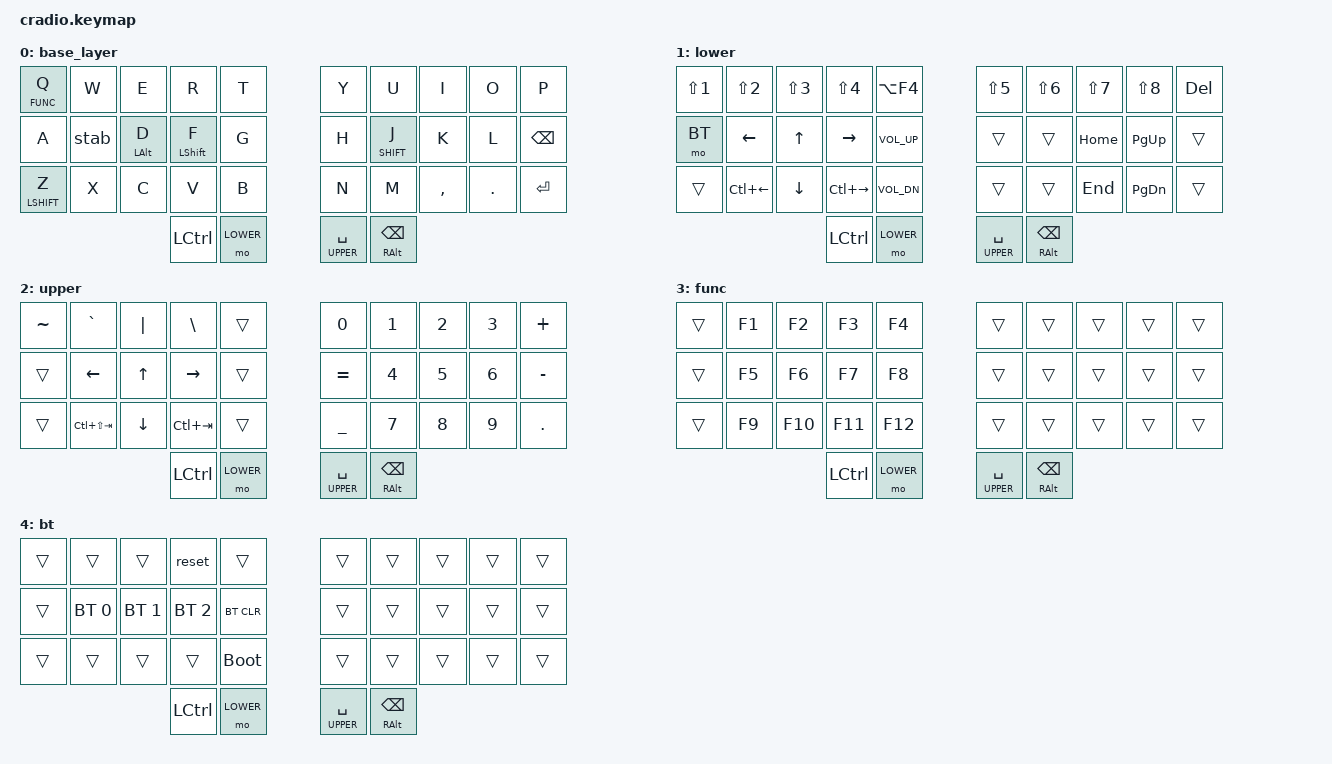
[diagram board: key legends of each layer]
#include <behaviors.dtsi>
#include <dt-bindings/zmk/keys.h>
#include <dt-bindings/zmk/bt.h>


#define BASE 0
#define LOWER 1
#define UPPER 2
#define FUNC 3
#define BT 4

#define ALL BASE LOWER UPPER FUNC BT

&kscan0 {
    debounce-period = <20>;
};


&lt {
    tapping-term-ms = <180>;
};

/ {
     combos {
          #include "combos.dtsi"
     };

	behaviors {
        hm: homerow_mods {
            compatible = "zmk,behavior-hold-tap";
            label = "HOMEROW_MODS";
            #binding-cells = <2>;
            tapping-term-ms = <200>;
            quick_tap_ms = <0>;
            flavor = "tap-preferred";
            bindings = <&kp>, <&kp>;
          };
          qhm: q_homerow_mods {
            compatible = "zmk,behavior-hold-tap";
            label = "Q_HOMEROW_MODS";
            #binding-cells = <2>;
            tapping-term-ms = <200>;
            quick_tap_ms = <0>;
            flavor = "tap-preferred";
            bindings = <&mo>, <&kp>;
          };
          zhm: z_homerow_mods {
            compatible = "zmk,behavior-hold-tap";
            label = "Z_HOMEROW_MODS";
            #binding-cells = <2>;
            tapping-term-ms = <150>;
            quick_tap_ms = <0>;
            flavor = "balanced";
            bindings = <&mo>, <&kp>;
          };
		ftab: f_tab {
            compatible = "zmk,behavior-mod-morph";
            label = "F_TAB";
            #binding-cells = <0>;
            bindings = <&kp F>, <&kp TAB>;
            mods = <MOD_LALT>;
        };
		stab: s_shift_tab {
            compatible = "zmk,behavior-mod-morph";
            label = "S_TAB";
            #binding-cells = <0>;
            bindings = <&kp S>, <&kp LS(TAB)>;
            mods = <MOD_LALT>;
        };
		am_f: alpha_mod_f_tab {
            compatible = "zmk,behavior-hold-tap";
            label = "F_MT";
            #binding-cells = <2>;
            tapping-term-ms = <200>;
            quick_tap_ms = <0>;
            flavor = "tap-preferred";
            bindings = <&kp>, <&ftab>;
        };
	};
	

  keymap {
    compatible = "zmk,keymap";

    base_layer {
      bindings = <
        // ╭─────────────┬─────────────┬─────────────┬─────────────┬─────────────╮   ╭─────────────┬─────────────┬─────────────┬─────────────┬─────────────╮
             &qhm FUNC Q   &kp W         &kp E         &kp R         &kp T             &kp Y         &kp U         &kp I         &kp O         &kp P
        // ├─────────────┼─────────────┼─────────────┼─────────────┼─────────────┤   ├─────────────┼─────────────┼─────────────┼─────────────┼─────────────┤
             &kp A         &stab		&hm LALT D     &am_f LSHFT F  &kp G            &kp H         &hm SHIFT J  &kp K         &kp L         &kp BSPC
        // ├─────────────┼─────────────┼─────────────┼─────────────┼─────────────┤   ├─────────────┼─────────────┼─────────────┼─────────────┼─────────────┤
             &zhm LSHIFT Z  &kp X         &kp C         &kp V         &kp B             &kp N         &kp M         &kp COMMA     &kp DOT       &kp RET
        // ╰─────────────┴─────────────┴─────────────┼─────────────┼─────────────┤   ├─────────────┼─────────────┼─────────────┴─────────────┴─────────────╯
                                                       &kp LCTRL     &mo LOWER        &lt UPPER SPACE  &mt RALT BSPC
        //                                           ╰─────────────┴─────────────╯   ╰─────────────┴─────────────╯
      >;
    };


    lower {
      bindings = <
        // ╭─────────────┬─────────────┬─────────────┬─────────────┬─────────────╮   ╭─────────────┬─────────────┬─────────────┬─────────────┬─────────────╮
             &kp LS(N1) 	  &kp LS(N2) 	 &kp LS(N3) 	&kp LS(N4)    &kp LA(F4)         &kp LS(N5) 	 &kp LS(N6) 	&kp LS(N7)    &kp LS(N8)     &kp DEL
        // ├─────────────┼─────────────┼─────────────┼─────────────┼─────────────┤   ├─────────────┼─────────────┼─────────────┼─────────────┼─────────────┤
             &mo BT        &kp LEFT      &kp UP        &kp RIGHT     &kp C_VOL_UP       &trans 	 &trans 		&kp HOME      &kp PG_UP      &trans
        // ├─────────────┼─────────────┼─────────────┼─────────────┼─────────────┤   ├─────────────┼─────────────┼─────────────┼─────────────┼─────────────┤
             &trans        &kp LC(LEFT)  &kp DOWN      &kp LC(RIGHT)  &kp C_VOL_DN      &trans 	 &trans 		&kp END       &kp PG_DN      &trans
        // ╰─────────────┴─────────────┴─────────────┼─────────────┼─────────────┤   ├─────────────┼─────────────┼─────────────┴─────────────┴─────────────╯
                                                       &kp LCTRL     &mo LOWER        &lt UPPER SPACE  &mt RALT BSPC
        //                                           ╰─────────────┴─────────────╯   ╰─────────────┴─────────────╯
      >;
    };

    upper {
      bindings = <
        // ╭─────────────┬─────────────┬─────────────┬─────────────┬─────────────╮   ╭─────────────┬─────────────┬─────────────┬─────────────┬─────────────╮
             &kp TILDE     &kp GRAVE     &kp PIPE      &kp BSLH      &trans             &kp N0        &kp N1        &kp N2        &kp N3        &kp PLUS
        // ├─────────────┼─────────────┼─────────────┼─────────────┼─────────────┤   ├─────────────┼─────────────┼─────────────┼─────────────┼─────────────┤
             &trans        &kp LEFT      &kp UP        &kp RIGHT     &trans             &kp EQUAL     &kp N4        &kp N5        &kp N6        &kp MINUS
        // ├─────────────┼─────────────┼─────────────┼─────────────┼─────────────┤   ├─────────────┼─────────────┼─────────────┼─────────────┼─────────────┤
             &trans        &kp LC(LS(TAB))  &kp DOWN   &kp LC(TAB)   &trans             &kp UNDER     &kp N7        &kp N8        &kp N9        &kp DOT
        // ╰─────────────┴─────────────┴─────────────┼─────────────┼─────────────┤   ├─────────────┼─────────────┼─────────────┴─────────────┴─────────────╯
                                                       &kp LCTRL     &mo LOWER        &lt UPPER SPACE  &mt RALT BSPC
        //                                           ╰─────────────┴─────────────╯   ╰─────────────┴─────────────╯
      >;
    };  

    func {
      bindings = <
        // ╭─────────────┬─────────────┬─────────────┬─────────────┬─────────────╮   ╭─────────────┬─────────────┬─────────────┬─────────────┬─────────────╮
             &trans        &kp F1 		 &kp F2 		&kp F3        &kp F4             &trans        &trans        &trans        &trans        &trans
        // ├─────────────┼─────────────┼─────────────┼─────────────┼─────────────┤   ├─────────────┼─────────────┼─────────────┼─────────────┼─────────────┤
             &trans        &kp F5 	      &kp F6 		&kp F7        &kp F8             &trans        &trans        &trans        &trans        &trans
        // ├─────────────┼─────────────┼─────────────┼─────────────┼─────────────┤   ├─────────────┼─────────────┼─────────────┼─────────────┼─────────────┤
             &trans        &kp F9 	      &kp F10 		&kp F11       &kp F12            &trans        &trans        &trans        &trans        &trans
        // ╰─────────────┴─────────────┴─────────────┼─────────────┼─────────────┤   ├─────────────┼─────────────┼─────────────┴─────────────┴─────────────╯
                                                       &kp LCTRL     &mo LOWER        &lt UPPER SPACE  &mt RALT BSPC
        //                                           ╰─────────────┴─────────────╯   ╰─────────────┴─────────────╯
      >;
    };

    bt {
      bindings = <
        // ╭─────────────┬─────────────┬─────────────┬─────────────┬─────────────╮   ╭─────────────┬─────────────┬─────────────┬─────────────┬─────────────╮
             &trans        &trans        &trans 		&reset        &trans             &trans        &trans        &trans        &trans        &trans
        // ├─────────────┼─────────────┼─────────────┼─────────────┼─────────────┤   ├─────────────┼─────────────┼─────────────┼─────────────┼─────────────┤
             &trans        &bt BT_SEL 0  &bt BT_SEL 1  &bt BT_SEL 2   &bt BT_CLR        &trans        &trans        &trans        &trans        &trans
        // ├─────────────┼─────────────┼─────────────┼─────────────┼─────────────┤   ├─────────────┼─────────────┼─────────────┼─────────────┼─────────────┤
             &trans        &trans        &trans        &trans        &bootloader        &trans        &trans        &trans        &trans        &trans
        // ╰─────────────┴─────────────┴─────────────┼─────────────┼─────────────┤   ├─────────────┼─────────────┼─────────────┴─────────────┴─────────────╯
                                                       &kp LCTRL     &mo LOWER        &lt UPPER SPACE  &mt RALT BSPC
        //                                           ╰─────────────┴─────────────╯   ╰─────────────┴─────────────╯
      >;
    };

};
};

